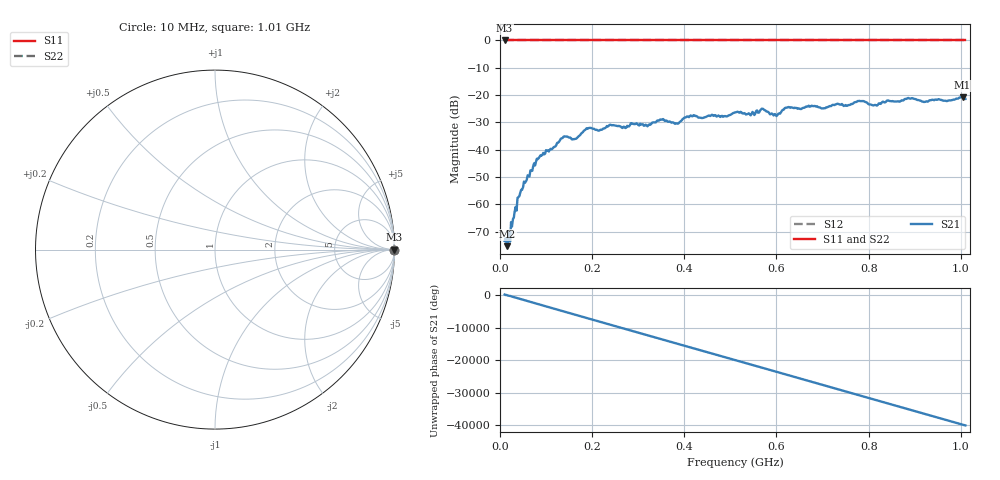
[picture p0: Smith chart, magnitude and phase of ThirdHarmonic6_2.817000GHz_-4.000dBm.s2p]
! 8/17/2025 7:25:51 AM
! C:\ANRITSUVNA\TEMP\TEMP.S2P
! CHANNEL.1
! TR.MEASUREMENT
! RAW.DATA
! RF.CORRECTION.OFF
! AVERAGING.OFF
! IF.BANDWIDTH: 5KHZ
! SWEEPTYPE:  FREQ.SWEEP(Linear)
! Reference Plane Port Info
! PORT:  PORT1  PORT2
! DISTANCE:  0  m  0  m
! TIME:  0  s  0  s
! PHASE.OFFSET:  0  deg.  0  deg.
! LOSS:  0  dB  0  dB
! REF.LOSS:  0  dB  0  dB
! REF.FREQ:  0  Hz  0  Hz
! Power Info
! POWER:  -20  dBm  -20  dBm
! EFF.POWER:  -20  dBm  -20  dBm
! SOURCE.ATTEN:  0  dB  0  dB
! TEST.ATTEN:  0  dB  0  dB
# GHZ S RI R 50.0
! FREQ.GHZ  S11RE  S11IM  S21RE  S21IM  S12RE  S12IM  S22RE  S22IM
!; PortSelection: Port_12
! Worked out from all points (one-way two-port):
!   501 points, 10 MHz to 1.01 GHz, reference 50 ohm
!   highest |S21| = -20.76 dB at 1.004 GHz (marker M1); lowest = -75.3 dB at 16 MHz (marker M2)
!   lowest |S11| = 0.0 dB at 10 MHz (marker M3)
!   |S11| at or under -10 dB: nowhere
!   |S22| runs from 0.0 to 0.0 dB; largest |S21 - S12| = 1.1
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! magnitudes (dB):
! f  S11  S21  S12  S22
! 10 MHz  0.0  -73.4  0.0  0.0
! 16 MHz  0.0  -75.3  0.0  0.0
! 18 MHz  0.0  -71.9  0.0  0.0
! 42 MHz  0.0  -57.0  0.0  0.0
! 82 MHz  0.0  -43.4  0.0  0.0
! 136 MHz  0.0  -35.7  0.0  0.0
! 162 MHz  0.0  -36.1  0.0  0.0
! 178 MHz  0.0  -33.8  0.0  0.0
! 192 MHz  0.0  -32.1  0.0  0.0
! 318 MHz  0.0  -31.1  0.0  0.0
! 344 MHz  0.0  -29.4  0.0  0.0
! 384 MHz  0.0  -30.3  0.0  0.0
! 416 MHz  0.0  -27.7  0.0  0.0
! 510 MHz  0.0  -26.3  0.0  0.0
! 570 MHz  0.0  -25.0  0.0  0.0
! 598 MHz  0.0  -27.0  0.0  0.0
! 622 MHz  0.0  -24.6  0.0  0.0
! 678 MHz  0.0  -23.9  0.0  0.0
! 814 MHz  0.0  -23.6  0.0  0.0
! 844 MHz  0.0  -22.1  0.0  0.0
! 1.004 GHz  0.0  -20.8  0.0  0.0
! 1.01 GHz  0.0  -21.4  0.0  0.0
